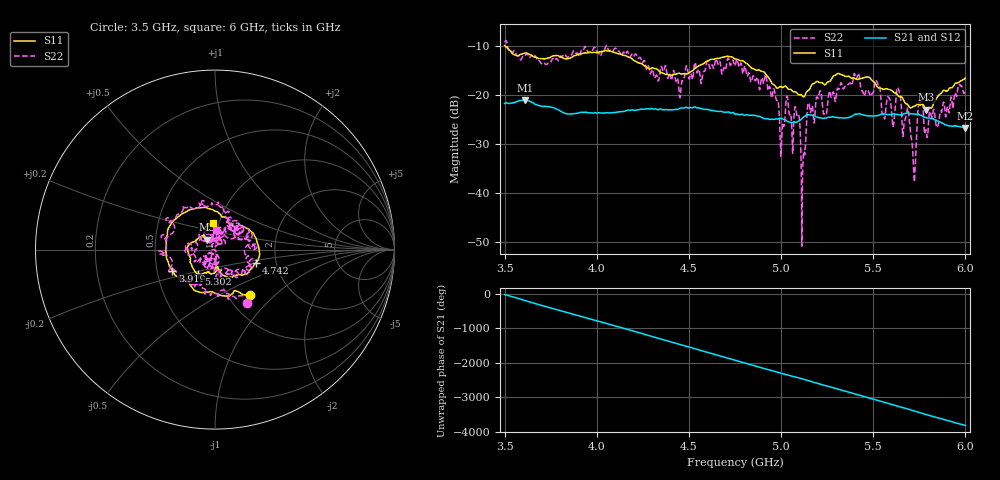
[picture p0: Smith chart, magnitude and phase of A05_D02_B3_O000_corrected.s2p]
! Created with skrf 1.9.0 (http://scikit-rf.org).
# Hz S RI R 50.0
!freq ReS11 ImS11 ReS21 ImS21 ReS12 ImS12 ReS22 ImS22
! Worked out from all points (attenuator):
!   1601 points, 3.5 GHz to 6 GHz, reference 50 ohm
!   highest |S21| = -21.01 dB at 3.609 GHz (marker M1); lowest = -26.7 dB at 5.997 GHz (marker M2)
!   lowest |S11| = -23.0 dB at 5.787 GHz (marker M3), VSWR 1.15, Z = 45.4 + j5.03 ohm
!   |S11| at or under -10 dB: 3.505 GHz to end of sweep
!   |S22| runs from -50.8 to -8.8 dB; largest |S21 - S12| = 0.0011
!   S11 on the Smith chart (normalised r, x): 3.5 GHz: 1.26, -0.72; 3.919 GHz: 0.60, -0.15; 4.742 GHz: 1.57, -0.24; 5.302 GHz: 0.80, -0.22; 6 GHz: 0.93, +0.28
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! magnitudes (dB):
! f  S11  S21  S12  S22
! 3.5 GHz  -9.9  -21.7  -21.7  -9.2
! 3.609 GHz  -11.4  -21.0  -21.0  -11.8
! 3.917 GHz  -11.6  -23.5  -23.5  -10.8
! 3.919 GHz  -11.5  -23.5  -23.5  -10.7
! 4.334 GHz  -14.9  -22.9  -22.9  -17.1
! 4.742 GHz  -12.4  -23.6  -23.6  -13.2
! 4.75 GHz  -12.6  -23.9  -23.8  -14.0
! 4.969 GHz  -18.2  -24.9  -24.8  -20.1
! 5.005 GHz  -18.3  -24.8  -24.7  -27.4
! 5.033 GHz  -18.5  -25.3  -25.2  -20.3
! 5.086 GHz  -19.5  -25.5  -25.4  -24.1
! 5.119 GHz  -20.3  -24.6  -24.5  -33.7
! 5.147 GHz  -19.1  -24.0  -24.0  -21.8
! 5.167 GHz  -17.8  -24.1  -24.0  -22.2
! 5.302 GHz  -15.7  -24.5  -24.5  -19.4
! 5.584 GHz  -18.8  -23.9  -23.9  -20.4
! 5.639 GHz  -20.3  -24.0  -23.9  -19.0
! 5.72 GHz  -22.2  -23.8  -23.8  -36.1
! 5.755 GHz  -22.0  -24.1  -24.0  -21.8
! 5.787 GHz  -23.0  -24.6  -24.5  -27.2
! 5.997 GHz  -16.6  -26.7  -26.6  -19.4
! 6 GHz  -16.5  -26.7  -26.6  -19.4
